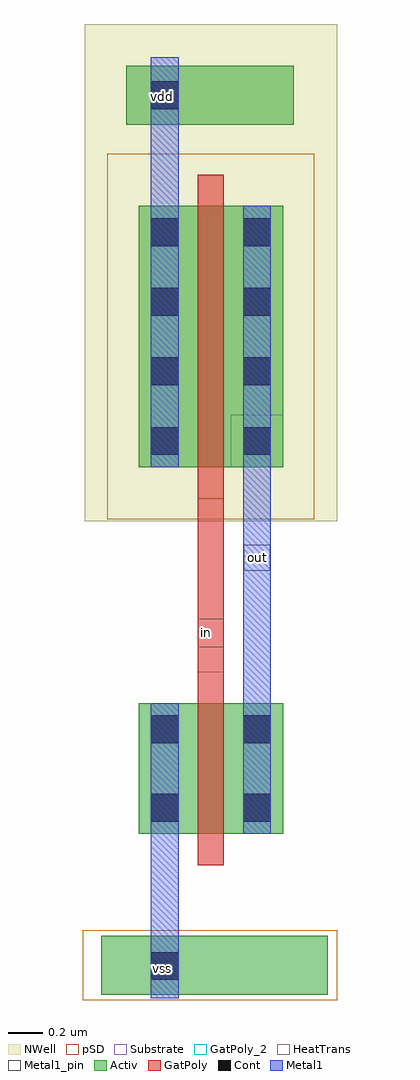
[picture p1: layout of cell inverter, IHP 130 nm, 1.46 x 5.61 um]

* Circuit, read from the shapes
.subckt inverter in out vdd vss
XM1 out in vss vss sg13_lv_nmos w=0.75u l=0.15u
XM2 out in vdd vdd sg13_lv_pmos w=1.5u l=0.15u
.ends

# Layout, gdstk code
import gdstk
lib = gdstk.Library(unit=1e-6, precision=5e-09)
def R(c, l, rs):  # rectangles x0, y0, x1, y1
    for r in rs: c.add(gdstk.rectangle(r[:2], r[2:], *l))
def A(c, l, x, y, w, h, nx, ny, dx, dy):  # array of equal rectangles
    R(c, l, [(x+i*dx, y+j*dy, x+i*dx+w, y+j*dy+h) for i in range(nx) for j in range(ny)])
Activ = (1, 0)
GatPoly = (5, 0)
GatPoly_2 = (5, 2)
Cont = (6, 0)
Metal1 = (8, 0)
Metal1_pin = (8, 2)
pSD = (14, 0)
NWell = (31, 0)
Substrate = (40, 0)
HeatTrans = (51, 0)

nmos_1 = lib.new_cell('nmos$1')
R(nmos_1, Activ, [(0,0,0.3,0.3), (0,0,0.83,0.75), (0.53,0,0.83,0.3)])
R(nmos_1, GatPoly, [(0.34,-0.18,0.49,0.93)])
R(nmos_1, GatPoly_2, [(0.34,-0.18,0.49,0.93)])
R(nmos_1, Cont, [(0.07,0.07,0.23,0.23), (0.6,0.07,0.76,0.23), (0.07,0.52,0.23,0.68), (0.6,0.52,0.76,0.68)])
R(nmos_1, Metal1, [(0.07,0,0.23,0.75), (0.6,0,0.76,0.75)])
R(nmos_1, Metal1_pin, [(0.07,0,0.23,0.75), (0.6,0,0.76,0.75)])
R(nmos_1, HeatTrans, [(0.34,-0.18,0.49,0.93)])
nmos_1.add(gdstk.Label('nmos', (0.415,0.375), layer=63, texttype=0))
nmos_1.add(gdstk.Label('nmos', (0.415,0.375), layer=51, texttype=0))

pmos_1 = lib.new_cell('pmos$1')
R(pmos_1, Activ, [(0,0,0.3,0.3), (0,0,0.83,1.5), (0.53,0,0.83,0.3)])
R(pmos_1, GatPoly, [(0.34,-0.18,0.49,1.68), (0.34,-0.18,0.49,1.68)])
A(pmos_1, Cont, 0.07, 0.07, 0.16, 0.16, 1, 4, 0, 0.4)
A(pmos_1, Cont, 0.6, 0.07, 0.16, 0.16, 1, 4, 0, 0.4)
R(pmos_1, Metal1, [(0.07,0,0.23,1.5), (0.07,0,0.23,1.5), (0.6,0,0.76,1.5), (0.6,0,0.76,1.5)])
R(pmos_1, pSD, [(-0.18,-0.3,1.01,1.8)])
R(pmos_1, NWell, [(-0.31,-0.31,1.14,1.81)])
R(pmos_1, Substrate, [(0.53,0,0.83,0.3)])
R(pmos_1, HeatTrans, [(0.34,-0.18,0.49,1.68)])
pmos_1.add(gdstk.Label('pmos', (0.415,0.75), layer=63, texttype=0))
pmos_1.add(gdstk.Label('pmos', (0.415,0.75), layer=51, texttype=0))

inverter = lib.new_cell('inverter')
R(inverter, Activ, [(1.335,-1.99,2.635,-1.65), (1.48,3.005,2.44,3.345)])
R(inverter, GatPoly, [(1.89,-0.135,2.04,1.34)])
R(inverter, GatPoly_2, [(1.89,0.005,2.04,0.17)])
R(inverter, Cont, [(1.62,-1.905,1.78,-1.745), (1.62,2.31,1.78,2.47), (1.62,3.095,1.78,3.255)])
R(inverter, Metal1, [(1.62,-2.01,1.78,-1.065), (2.15,-0.315,2.31,1.27), (1.62,2.15,1.78,3.395)])
R(inverter, Metal1_pin, [(1.62,-1.905,1.78,-1.745), (2.155,0.445,2.305,0.595), (1.62,3.095,1.78,3.255)])
R(inverter, pSD, [(1.23,-2.02,2.69,-1.62)])
R(inverter, NWell, [(1.24,2.85,2.69,3.585)])
inverter.add(gdstk.Reference(nmos_1, (1.55,-1.065)))
inverter.add(gdstk.Reference(pmos_1, (1.55,1.04)))
inverter.add(gdstk.Label('out', (2.23,0.52), layer=8, texttype=2))
inverter.add(gdstk.Label('vdd', (1.685,3.17), layer=8, texttype=2))
inverter.add(gdstk.Label('vss', (1.69,-1.84), layer=8, texttype=2))
inverter.add(gdstk.Label('in', (1.94,0.09), layer=5, texttype=2))

lib.write_gds('inverter.gds')
